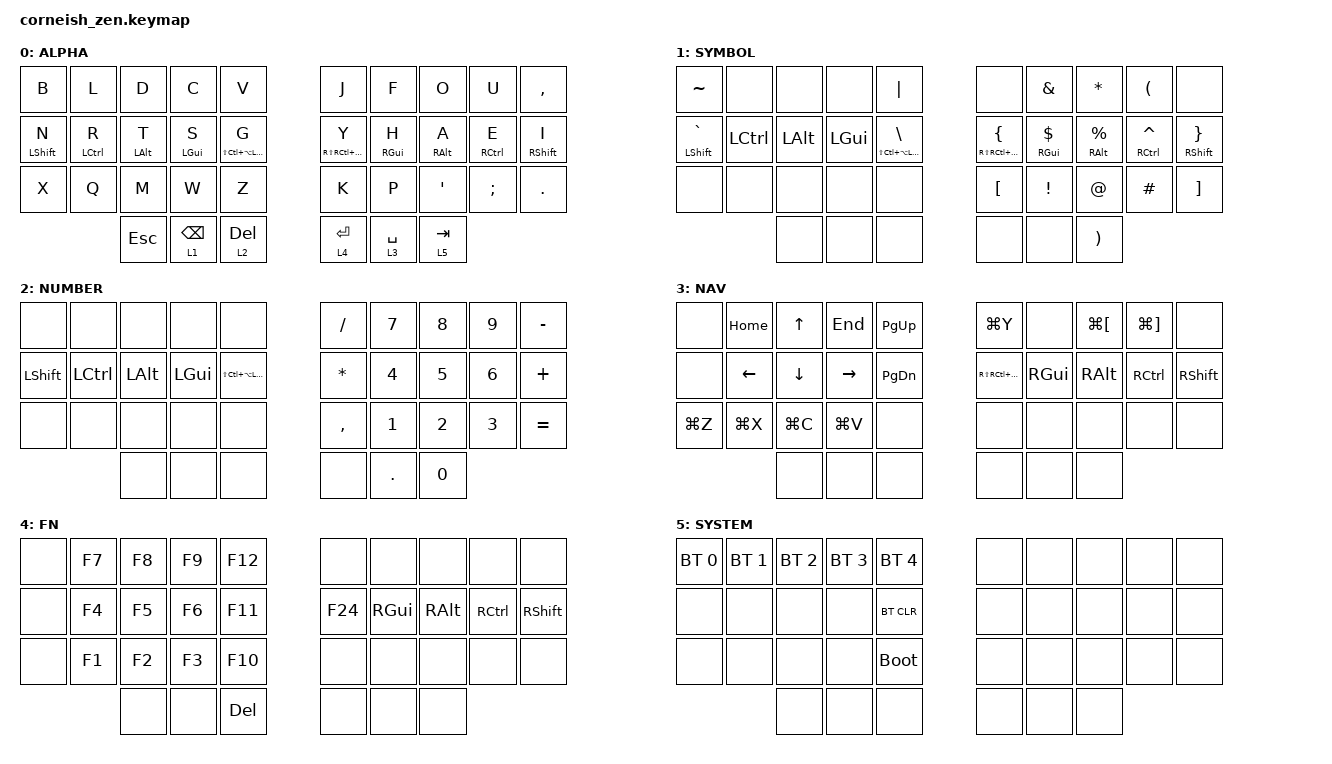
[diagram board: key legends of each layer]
/*
*
* Copyright (c) 2021 Darryl deHaan
* SPDX-License-Identifier: MIT
*
*/

#define LHYP LS(LC(LA(LCMD)))
#define RHYP RS(RC(RA(RCMD)))

#include <behaviors.dtsi>
#include <dt-bindings/zmk/bt.h>
#include <dt-bindings/zmk/keys.h>

/ {
    chosen {
        // zmk,matrix-transform = &default_transform;

        zmk,matrix-transform = &five_column_transform;
    };
};

/ {
    behaviors {
        hm: homerow_mods {
            compatible = "zmk,behavior-hold-tap";
            #binding-cells = <2>;
            tapping-term-ms = <150>;
            quick-tap-ms = <0>;
            flavor = "tap-preferred";
            bindings = <&kp>, <&kp>;
        };
    };
};

/ {
    keymap {
        compatible = "zmk,keymap";

        default_layer {
            display-name = "ALPHA";

            // Gallium Row Staggered
            // -----------------------------------------------------------------------------------------------
            // |  B  |  L  |  D  |  C  |  V  |                                 |  J  |  F  |  O  |  U  |  ,  |
            // |  N  |  R  |  T  |  S  |  G  |                                 |  Y  |  H  |  A  |  E  |  I  |
            // |  X  |  Q  |  M  |  W  |  Z  |                                 |  K  |  P  |  '  |  ;  |  .  |
            //             | ESC | BSP | DEL |                                 | ENT | SPC | TAB |

            bindings = <
  &kp B        &kp L        &kp D       &kp C       &kp V         &kp J       &kp F        &kp O       &kp U        &kp COMMA
  &hm LSHFT N  &hm LCTRL R  &hm LALT T  &hm LGUI S  &hm LHYP G    &hm RHYP Y  &hm RGUI H   &hm RALT A  &hm RCTRL E  &hm RSHFT I
  &kp X        &kp Q        &kp M       &kp W       &kp Z         &kp K       &kp P        &kp SQT     &kp SEMI     &kp PERIOD
                            &kp ESC     &lt 1 BSPC  &lt 2 DEL     &lt 4 RET   &lt 3 SPACE  &lt 5 TAB
            >;
        };

        sym_layer {
            display-name = "SYMBOL";

            // --------------------------------------------------------------------------------------
            // |  ~  |     |     |     | '|' |                        |     |  &  |  *  |  (  |     |
            // |  `  |     |     |     |  \  |                        |  {  |  $  |  %  |  ^  |  }  |
            // |     |     |     |     |     |                        |  [  |  !  |  @  |  #  |  ]  |
            //             |     |     |     |                        |     |  )  |     |

            bindings = <
  &kp TILDE        &none      &none     &none     &kp PIPE         &none          &kp AMPS       &kp ASTRK       &kp LPAR         &none
  &hm LSHFT GRAVE  &kp LCTRL  &kp LALT  &kp LGUI  &hm LHYP BSLH    &hm RHYP LBRC  &hm RGUI DLLR  &hm RALT PRCNT  &hm RCTRL CARET  &hm RSHFT RBRC
  &none            &none      &none     &none     &none            &kp LBKT       &kp EXCL       &kp AT          &kp HASH         &kp RBKT
                              &none     &none     &none            &none          &none          &kp RPAR
            >;
        };

        num_layer {
            display-name = "NUMBER";

            // ------------------------------------------------------------------------------
            // |     |     |     |     |     |                |  /  |  7  |  8  |  9  |  -  |
            // | SHF | CTL | OPT | CMD | HYP |                |  *  |  4  |  5  |  6  |  +  |
            // |     |     |     |     |     |                |  ,  |  1  |  2  |  3  |  =  |
            //             |     |     |     |                |  .  |  0  |     |

            bindings = <
  &none      &none      &none     &none     &none                   &kp FSLH   &kp N7   &kp N8  &kp N9  &kp MINUS
  &kp LSHFT  &kp LCTRL  &kp LALT  &kp LGUI  &kp LHYP               &kp ASTRK  &kp N4   &kp N5  &kp N6  &kp PLUS
  &none      &none      &none     &none     &none                   &kp COMMA  &kp N1   &kp N2  &kp N3  &kp EQUAL
                        &none     &none     &none                   &none      &kp DOT  &kp N0
            >;
        };

        nav_layer {
            display-name = "NAV";

            // -------------------------------------------------------------------------------------
            // |      | HOME |  ↑   | END  | PGUP |               | REDO |     | PGBK | PGFD |     |
            // |      |   ←  |  ↓   |  →   | PGDN |               | HYP  | CMD | OPT  | CTL  | SHF |
            // | UNDO | CUT  | COPY | PSTE |      |               |      |     |      |      |     |
            //               |      |      |      |               |      |     |      |

            bindings = <
  &none      &kp HOME   &kp UP     &kp END    &kp PG_UP             &kp LG(Y)  &none     &kp LG(LBKT)  &kp LG(RBKT)  &none
  &none      &kp LEFT   &kp DOWN   &kp RIGHT  &kp PG_DN             &kp RHYP   &kp RGUI  &kp RALT      &kp RCTRL     &kp RSHFT
  &kp LG(Z)  &kp LG(X)  &kp LG(C)  &kp LG(V)  &none                 &none      &none     &none         &none         &none
                        &none      &none      &none                 &none      &none     &none
            >;
        };

        fn_layer {
            display-name = "FN";

            // ----------------------------------------------------------------------------------
            // |    |  F7  |  F8  |  F9  |  F12  |              |       |     |     |     |     |
            // |    |  F4  |  F5  |  F6  |  F11  |              | GLOBE | CMD | OPT | CTL | SHF |
            // |    |  F1  |  F2  |  F3  |  F10  |              |       |     |     |     |     |
            //             |      |      |       |              |       |     |     |

            bindings = <
  &none  &kp F7  &kp F8  &kp F9  &kp F12                &none    &none     &none     &none      &none
  &none  &kp F4  &kp F5  &kp F6  &kp F11                &kp F24  &kp RGUI  &kp RALT  &kp RCTRL  &kp RSHFT
  &none  &kp F1  &kp F2  &kp F3  &kp F10                &none    &none     &none     &none      &none
                 &none   &none   &kp DEL                &none    &none     &none
            >;
        };

        sys_layer {
            display-name = "SYSTEM";

            // ----------------------------------------------------------------------------
            // | BT 0 | BT 1 | BT 2 | BT 3 |  BT 4  |           |     |    |    |    |    |                
            // |      |      |      |      | BT CLR |           |     |    |    |    |    |
            // |      |      |      |      | BOOTL  |           |     |    |    |    |    |
            //               |      |      |        |           |     |    |    |

            bindings = <
  &bt BT_SEL 0  &bt BT_SEL 1  &bt BT_SEL 2  &bt BT_SEL 3  &bt BT_SEL 4          &none  &none  &none  &none  &none
  &none         &none         &none         &none         &bt BT_CLR            &none  &none  &none  &none  &none
  &none         &none         &none         &none         &bootloader           &none  &none  &none  &none  &none
                              &none         &none         &none                 &none  &none  &none
            >;
        };
    };
};
